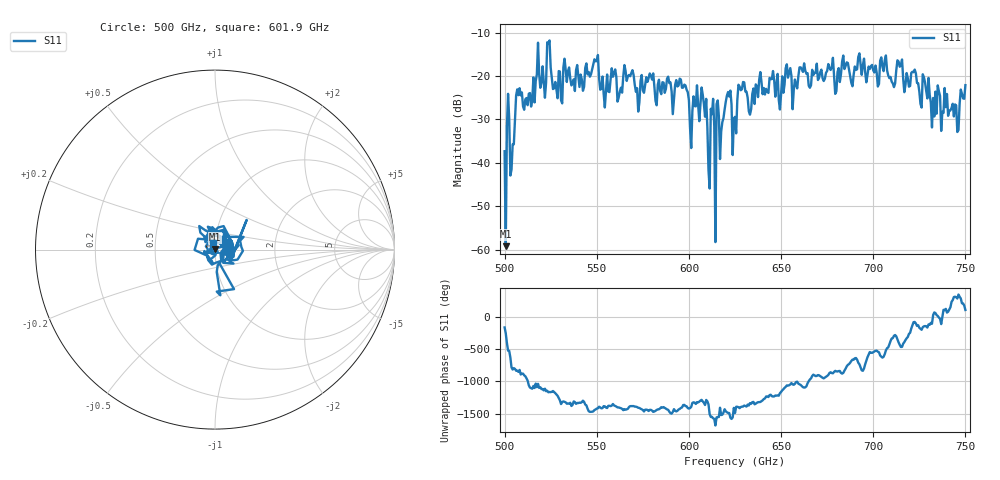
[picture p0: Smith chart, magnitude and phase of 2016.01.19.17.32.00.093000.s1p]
!Created with skrf (http://scikit-rf.org).
# GHz S RI R 50.0
!freq ReS11 ImS11
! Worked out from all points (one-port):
!   401 points, 500 GHz to 750 GHz, reference 50 ohm
!   lowest |S11| = -59.2 dB at 500.6 GHz (marker M1), VSWR 1.00, Z = 50 + j0.105 ohm
!   |S11| at or under -10 dB: start of sweep to end of sweep
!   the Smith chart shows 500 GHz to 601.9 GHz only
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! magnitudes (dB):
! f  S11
! 500 GHz  -37.3
! 500.6 GHz  -59.2
! 504.4 GHz  -35.7
! 507.5 GHz  -24.4
! 513.8 GHz  -23.9
! 524.4 GHz  -11.8
! 527.5 GHz  -21.4
! 531.2 GHz  -26.3
! 549.4 GHz  -16.6
! 553.1 GHz  -20.1
! 559.4 GHz  -19.4
! 562.5 GHz  -23.6
! 566.2 GHz  -21.1
! 571.9 GHz  -22.8
! 593.8 GHz  -22.4
! 601.9 GHz  -28.1
! 608.1 GHz  -26.4
! 610 GHz  -31.8
! 615.6 GHz  -25.6
! 621.2 GHz  -23.7
! 625 GHz  -29.4
! 628.1 GHz  -23.3
! 633.1 GHz  -28.9
! 656.2 GHz  -27.7
! 687.5 GHz  -20.0
! 718.8 GHz  -20.5
! 745 GHz  -26.8
! 750 GHz  -22.1
